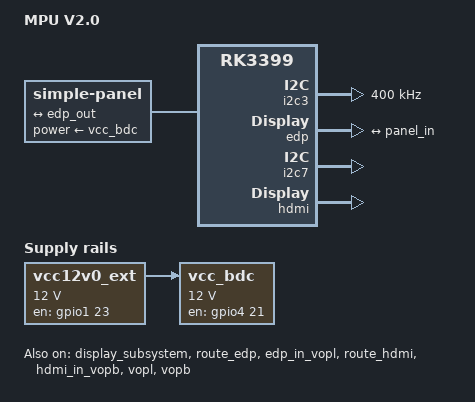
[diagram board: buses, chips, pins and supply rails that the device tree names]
/*
 * (C) Copyright 2016 Rockchip Electronics Co., Ltd
 *
 * SPDX-License-Identifier:     GPL-2.0+
 */

/dts-v1/;

#include "friendlyelec-som-rk3399.dtsi"
/ {
	model = "MPU V2.0";
	compatible = "friendlyelec,som-rk3399", "rockchip,rk3399";

	chosen {
		duragon,i2c = &i2c3;
	};

	vcc12v0_ext: vcc12v0-ext {
		compatible = "regulator-fixed";
		regulator-name = "vcc12v0_ext";
		gpio = <&gpio1 23 GPIO_ACTIVE_HIGH>;	/* BDC Power - GPIO1_C7 */
		startup-delay-us = <20000>;
		enable-active-high;
		regulator-always-on;
		regulator-boot-on;
		regulator-min-microvolt = <12000000>;
		regulator-max-microvolt = <12000000>;
	};

	vcc_bdc: vcc-bdc {
		compatible = "regulator-fixed";
		regulator-name = "vcc_bdc";
		gpio = <&gpio4 21 GPIO_ACTIVE_HIGH>;	/* BDC Power - GPIO4_C5 */
		startup-delay-us = <20000>;
		enable-active-high;
		regulator-min-microvolt = <12000000>;
		regulator-max-microvolt = <12000000>;
		regulator-boot-on;
		vin-supply = <&vcc12v0_ext>;
	};

	panel: panel {
		status = "okay";
		compatible = "simple-panel";
		// compatible = "bc,wvga";
		power-supply = <&vcc_bdc>;
		prepare-delay-ms = <20>;
		enable-delay-ms = <20>;
		display-timings {
			native-mode = <&timing0>;

			timing0: timing0 {
				clock-frequency = <29500000>;
				hactive = <800>;
				vactive = <480>;
				hfront-porch = <91>;
				hsync-len = <12>;
				hback-porch = <90>;
				vfront-porch = <9>;
				vsync-len = <2>;
				vback-porch = <8>;
				hsync-active = <1>;
				vsync-active = <1>;
				de-active = <1>;
				pixelclk-active = <1>;
			};
		};

		ports {
			panel_in: endpoint {
				remote-endpoint = <&edp_out>;
				// remote-endpoint = <&bridge_out>;
			};
		};
	};
};

&pwm0 {
	status = "disabled";
};

&i2c3 {
	status = "okay";
	i2c-scl-rising-time-ns = <160>;
	i2c-scl-falling-time-ns = <30>;
	clock-frequency = <400000>;
	// bdc: bdc@1b {
	// 	status = "okay";
	// 	compatible = "duragon,bdc";
	// 	// ports {
	// 	// 	port@0 {
	// 	// 		bridge_out: endpoint {
	// 	// 			remote-endpoint = <&panel_in>;
	// 	// 		};
	// 	// 	};

	// 	// 	port@1 {
	// 	// 		bridge_in: endpoint {
	// 	// 			remote-endpoint = <&edp_out>;
	// 	// 		};
	// 	// 	};
	// 	// };
	// };
};

&display_subsystem {
	status = "okay";
};
&edp {
	status = "okay";
	force-hpd;
	ports {
		port@1 {
			reg = <1>;

			edp_out: endpoint {
				remote-endpoint = <&panel_in>;
				// remote-endpoint = <&bridge_in>;
			};
		};
	};
};
&route_edp {
	status = "okay";
	connect = <&vopl_out_edp>;
};
&edp_in_vopl {
	status = "okay";
};
&edp_in_vopb {
	status = "disabled";
};


&i2c7 {
	status = "okay";
};
&hdmi {
	status = "okay";
};
&route_hdmi {
	status = "okay";
};
&hdmi_in_vopl {
	status = "disabled";
};
&hdmi_in_vopb {
	status = "okay";
};

&vopl {
	status = "okay";
};
&vopb {
	status = "okay";
};
